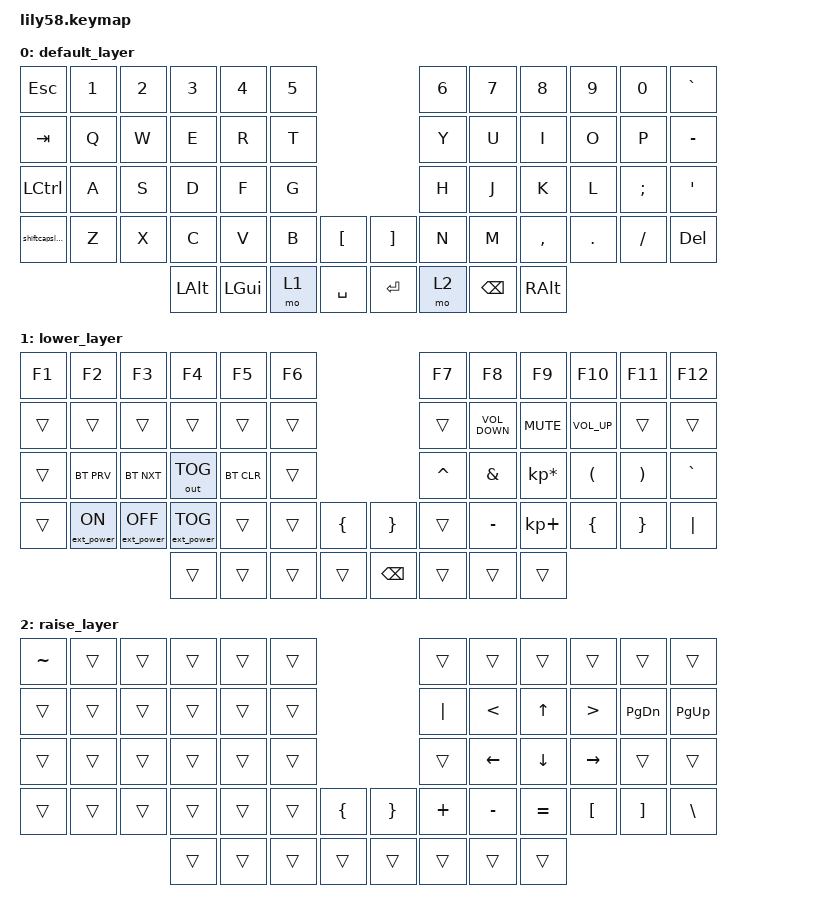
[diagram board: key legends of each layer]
/*
 * Copyright (c) 2020 The ZMK Contributors
 *
 * SPDX-License-Identifier: MIT
 */

#include <behaviors.dtsi>
#include <dt-bindings/zmk/bt.h>
#include <dt-bindings/zmk/ext_power.h>
#include <dt-bindings/zmk/keys.h>
#include <dt-bindings/zmk/outputs.h>

/ {
    behaviors {
        shiftcapslock: shiftcapslock {
            compatible = "zmk,behavior-tap-dance";
            label = "SHIFTCAPSLOCK";
            #binding-cells = <0>;
            bindings = <&kp LEFT_SHIFT>, <&kp CAPSLOCK>;
        };
    };

    keymap {
        compatible = "zmk,keymap";

        default_layer {
            // ------------------------------------------------------------------------------------------------------------
            // |  ESC  |  1  |  2  |  3   |  4   |  5   |                   |  6   |  7    |  8    |  9   |   0   |   `   |
            // |  TAB  |  Q  |  W  |  E   |  R   |  T   |                   |  Y   |  U    |  I    |  O   |   P   |   -   |
            // |  CTRL |  A  |  S  |  D   |  F   |  G   |                   |  H   |  J    |  K    |  L   |   ;   |   '   |
            // | SHIFT |  Z  |  X  |  C   |  V   |  B   |   "["  |  |  "]"  |  N   |  M    |  ,    |  .   |   /   | SHIFT |
            //                     | ALT  | GUI  | LOWER|  SPACE |  | ENTER | RAISE| BSPC  | GUI   |

            bindings = <
&kp ESC           &kp N1  &kp N2  &kp N3        &kp N4        &kp N5                         &kp N6  &kp N7         &kp N8     &kp N9   &kp N0    &kp GRAVE
&kp TAB           &kp Q   &kp W   &kp E         &kp R         &kp T                          &kp Y   &kp U          &kp I      &kp O    &kp P     &kp MINUS
&kp LEFT_CONTROL  &kp A   &kp S   &kp D         &kp F         &kp G                          &kp H   &kp J          &kp K      &kp L    &kp SEMI  &kp SQT
&shiftcapslock    &kp Z   &kp X   &kp C         &kp V         &kp B   &kp LBKT     &kp RBKT  &kp N   &kp M          &kp COMMA  &kp DOT  &kp FSLH  &kp DELETE
                                  &kp LEFT_ALT  &kp LEFT_GUI  &mo 1   &kp SPACE    &kp RET   &mo 2   &kp BACKSPACE  &kp RALT
            >;
        };

        lower_layer {
            // ------------------------------------------------------------------------------------------------------------
            // | BTCLR | BT1 | BT2 |  BT3 |  BT4 |  BT5 |                   |      |       |       |      |       |       |
            // |  F1   |  F2 |  F3 |  F4  |  F5  |  F6  |                   |  F7  |  F8   |  F9   |  F10 |  F11  |  F12  |
            // |   `   |  !  |  @  |  #   |  $   |  %   |                   |  ^   |  &    |  *    |  (   |   )   |   ~   |
            // |       |     |     |      |      |      |        |  |       |      |  _    |  +    |  {   |   }   |  "|"  |
            //                     |      |      |      |        |  |       |      |       |       |

            bindings = <
&kp F1  &kp F2            &kp F3             &kp F4             &kp F5      &kp F6                                     &kp F7     &kp F8             &kp F9           &kp F10          &kp F11   &kp F12
&trans  &trans            &trans             &trans             &trans      &trans                                     &trans     &kp C_VOLUME_DOWN  &kp C_MUTE       &kp C_VOLUME_UP  &trans    &trans
&trans  &bt BT_PRV        &bt BT_NXT         &out OUT_TOG       &bt BT_CLR  &trans                                     &kp CARET  &kp AMPS           &kp KP_MULTIPLY  &kp LPAR         &kp RPAR  &kp GRAVE
&trans  &ext_power EP_ON  &ext_power EP_OFF  &ext_power EP_TOG  &trans      &trans  &kp LEFT_BRACE    &kp RIGHT_BRACE  &trans     &kp MINUS          &kp KP_PLUS      &kp LBRC         &kp RBRC  &kp PIPE
                                             &trans             &trans      &trans  &trans            &kp BACKSPACE    &trans     &trans             &trans
            >;
        };

        raise_layer {
            // ------------------------------------------------------------------------------------------------------------
            // |       |     |     |      |      |      |                   |      |       |       |      |       |       |
            // |   `   |  1  |  2  |  3   |  4   |  5   |                   |  6   |   7   |   8   |  9   |   0   |       |
            // |   F1  |  F2 |  F3 |  F4  |  F5  |  F6  |                   |      |   <-  |   v   |  ^   |  ->   |       |
            // |   F7  |  F8 |  F9 |  F10 |  F11 |  F12 |        |  |       |  +   |   -   |   =   |  [   |   ]   |   \   |
            //                     |      |      |      |        |  |       |      |       |       |

            bindings = <
&kp TILDE  &trans  &trans  &trans  &trans  &trans                                     &trans    &trans     &trans     &trans     &trans         &trans
&trans     &trans  &trans  &trans  &trans  &trans                                     &kp PIPE  &kp LT     &kp UP     &kp GT     &kp PAGE_DOWN  &kp PAGE_UP
&trans     &trans  &trans  &trans  &trans  &trans                                     &trans    &kp LEFT   &kp DOWN   &kp RIGHT  &trans         &trans
&trans     &trans  &trans  &trans  &trans  &trans  &kp LEFT_BRACE    &kp RIGHT_BRACE  &kp PLUS  &kp MINUS  &kp EQUAL  &kp LBKT   &kp RBKT       &kp BSLH
                           &trans  &trans  &trans  &trans            &trans           &trans    &trans     &trans
            >;
        };
    };
};
